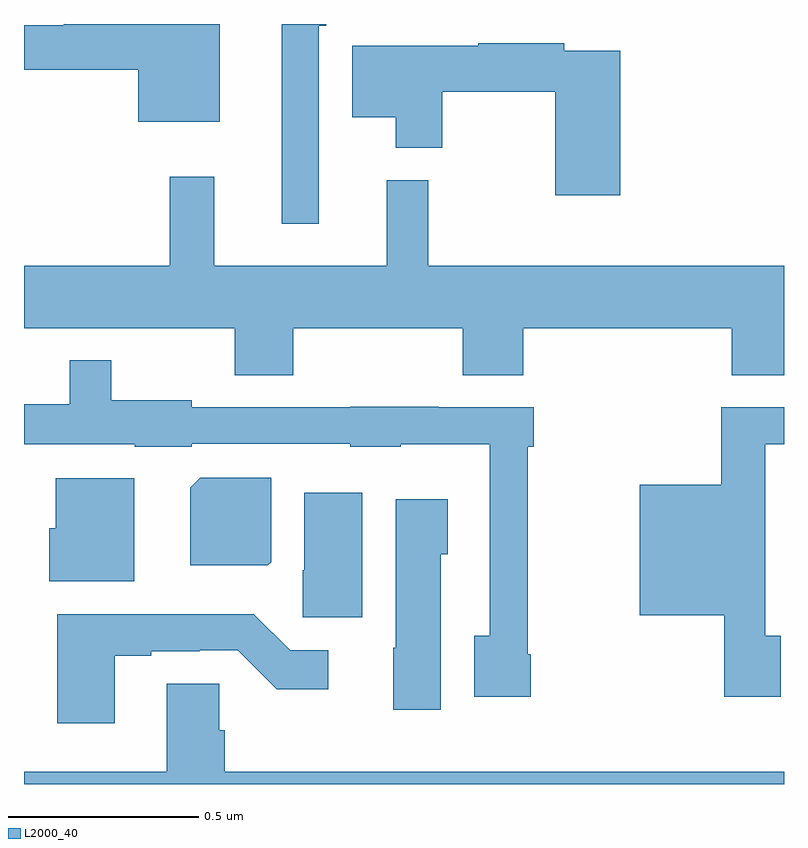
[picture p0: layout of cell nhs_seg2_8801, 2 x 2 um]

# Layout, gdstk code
import gdstk
lib = gdstk.Library(unit=1e-6, precision=1e-09)
def P(c, l, *ps):  # polygons
    for p in ps: c.add(gdstk.Polygon(p, *l))
L2000_40 = (2000, 40)

nhs_seg2_8801 = lib.new_cell('nhs_seg2_8801')
P(nhs_seg2_8801, L2000_40, [(221.515,617.8),(221.104,617.8),(221.104,617.797),(221,617.797),(221,617.68),(221.3,617.68),(221.3,617.543),(221.515,617.543)],
  [(221.775,617.795),(221.795,617.795),(221.795,617.8),(221.678,617.8),(221.678,617.274),(221.775,617.274)],
  [(222.569,617.73),(222.422,617.73),(222.422,617.75),(222.196,617.75),(222.196,617.743),(221.864,617.743),(221.864,617.555),(221.978,617.555),(221.978,617.474),(222.1,617.474),(222.1,617.622),(222.398,617.622),(222.398,617.349),(222.569,617.349)],
  [(221.709,617),(222.154,617),(222.154,616.876),(222.314,616.876),(222.314,617),(222.863,617),(222.863,616.876),(223,616.876),(223,617.164),(222.064,617.164),(222.064,617.389),(221.954,617.389),(221.954,617.164),(221.501,617.164),(221.501,617.398),(221.383,617.398),(221.383,617.164),(221,617.164),(221,617),(221.554,617),(221.554,616.876),(221.709,616.876)],
  [(222.334,616.141),(222.326,616.141),(222.326,616.688),(222.341,616.688),(222.341,616.791),(222.091,616.791),(222.091,616.793),(221.859,616.793),(221.859,616.791),(221.442,616.791),(221.442,616.81),(221.23,616.81),(221.23,616.915),(221.121,616.915),(221.121,616.799),(221,616.799),(221,616.694),(221.292,616.694),(221.292,616.688),(221.442,616.688),(221.442,616.695),(221.859,616.695),(221.859,616.688),(221.991,616.688),(221.991,616.694),(222.225,616.694),(222.225,616.19),(222.185,616.19),(222.185,616.029),(222.334,616.029)],
  [(222.991,616.19),(222.951,616.19),(222.951,616.694),(223,616.694),(223,616.791),(222.835,616.791),(222.835,616.588),(222.62,616.588),(222.62,616.244),(222.843,616.244),(222.843,616.029),(222.991,616.029)],
  [(221.65,616.384),(221.65,616.606),(221.464,616.606),(221.438,616.58),(221.438,616.376),(221.642,616.376)],
  [(221.29,616.604),(221.084,616.604),(221.084,616.473),(221.066,616.473),(221.066,616.334),(221.29,616.334)],
  [(221.89,616.567),(221.738,616.567),(221.738,616.362),(221.734,616.362),(221.734,616.239),(221.89,616.239)],
  [(222.097,616.404),(222.115,616.404),(222.115,616.549),(221.978,616.549),(221.978,616.158),(221.972,616.158),(221.972,615.996),(222.097,615.996)],
  [(221.239,616.137),(221.335,616.137),(221.335,616.149),(221.462,616.149),(221.462,616.152),(221.562,616.152),(221.665,616.05),(221.8,616.05),(221.8,616.152),(221.7,616.152),(221.605,616.247),(221.087,616.247),(221.087,615.96),(221.239,615.96)],
  [(223,615.832),(221.528,615.832),(221.528,615.942),(221.514,615.942),(221.514,616.064),(221.375,616.064),(221.375,615.832),(221,615.832),(221,615.8),(223,615.8)])

lib.write_gds('nhs_seg2_8801.gds')
